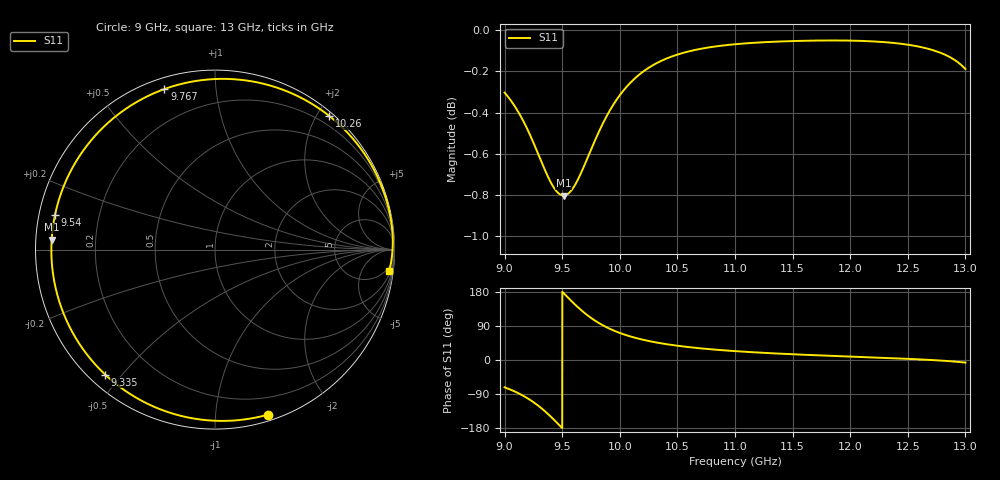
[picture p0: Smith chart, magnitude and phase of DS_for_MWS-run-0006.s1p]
! TOUCHSTONE file generated by CST DESIGN STUDIO
! Date and time: Tue Feb  4 13:46:37 2025
! Project name: C:\Work\MatlabApps\UnitCellOptimizationMatlab\CST\unitcell.cst
! Tree item: Tasks\Sweep1\SPara1\S-Parameters
! Header version: 2024
! Port assignment regex: !\s*Touchstone port\s*([0-9]+)\s*=\s*(CST MWS port|CST DES external port|CST DES block port)\s*(.+)\s* \(\"(.*)\"\)(\s*mode\s*([0-9]+))?.*
! Touchstone port assignment:
! Touchstone port 1 = CST DES external port 1 ("")
# GHz S MA R 50
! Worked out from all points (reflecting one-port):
!   4001 points, 9 GHz to 13 GHz, reference 50 ohm
!   lowest |S11| = -0.8 dB at 9.512 GHz (marker M1), VSWR 21.65, Z = 2.31 + j1.52 ohm
!   phase of S11 starts at -72 deg and turns -295 deg over the sweep
!   S11 on the Smith chart (normalised r, x): 9 GHz: 0.05, -1.37; 9.335 GHz: 0.05, -0.45; 9.54 GHz: 0.05, +0.11; 9.767 GHz: 0.05, +0.73; 10.26 GHz: 0.06, +2.17; 13 GHz: 3, -16
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9  0.9658 -72.2
9.091  0.9582 -83.5
9.195  0.9465 -100.2
9.268  0.9366 -115.1
9.335  0.9269 -131.2
9.379  0.921 -143.2
9.425  0.916 -156.6
9.463  0.9131 -168.2
9.5  0.9118 -179.7
9.512  0.9117 176.5
9.54  0.9122 167.8
9.593  0.9154 151.7
9.655  0.9222 134.1
9.71  0.9297 120.2
9.767  0.9378 107.5
9.867  0.9509 89.2
9.932  0.9581 79.7
10  0.9644 71.4
10.122  0.973 59.5
10.263  0.9798 49.4
10.5  0.9865 37.7
10.722  0.9899 30.2
11  0.9923 23.4
11.5  0.994 15.1
12  0.9943 9.0
12.5  0.992 3.1
12.787  0.9874 -1.5
13  0.9786 -6.9
